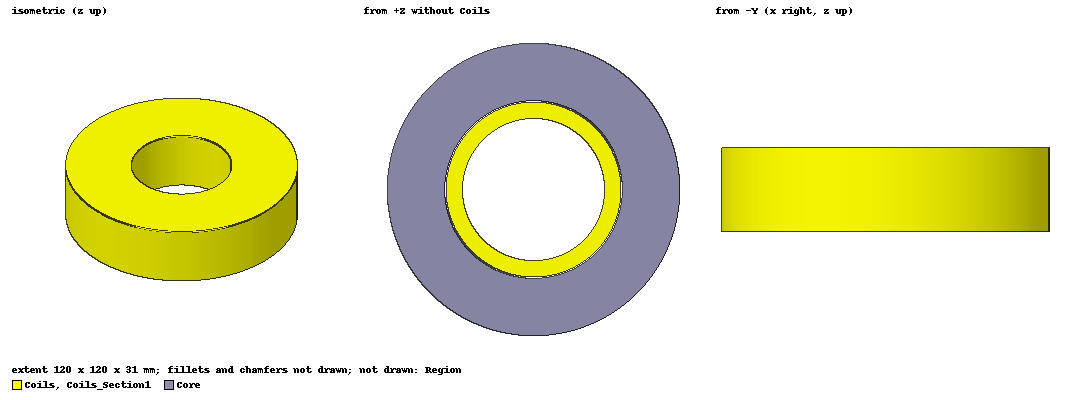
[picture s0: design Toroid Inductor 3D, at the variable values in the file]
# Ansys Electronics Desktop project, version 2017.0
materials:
  vacuum: permittivity=1
  copper: permeability=0.999991 conductivity=58000000
  steel_1010: permittivity=1 permeability{BType=normal HUnit=A_per_meter BUnit=tesla curve (0, 0) (238.7, 0.2003) (318.3, 0.3204) (358.1, 0.40045) (437.7, 0.50055) (477.5, 0.5606) (636.6, 0.7908) (795.8, 0.931) (1114.1, 1.1014) (1273.2, 1.2016) (1591.5, 1.302) (2228.2, 1.4028) (3183.1, 1.524) (4774.6, 1.626) (6366.2, 1.698) (7957.7, 1.73) (15915.5, 1.87) (31831, 1.99) (47746.5, 2.04) (63662, 2.07) (79577.5, 2.095) (159155, 2.2) (318310, 2.4)} conductivity=2000000 lande_g_factor=2
  steel_1008: permeability{BType=normal HUnit=A_per_meter BUnit=tesla curve (0, 0) (159.2, 0.2402) (318.3, 0.8654) (477.5, 1.1106) (636.6, 1.2458) (795.8, 1.331) (1591.5, 1.5) (3183.1, 1.6) (4774.6, 1.683) (6366.2, 1.741) (7957.7, 1.78) (15915.5, 1.905) (31831, 2.025) (47746.5, 2.085) (63662, 2.13) (79577.5, 2.165) (159155, 2.28) (318310, 2.485) (397887, 2.5851)} conductivity=2000000

design Toroid Inductor 3D (Maxwell 3D, Magnetostatic, model units mm)
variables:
  N = 10
  I = 1A
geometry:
  Circle1 = circle(normal=Z, centre=(0mm, 0mm, 0mm), radius=(65/2) mm)
  Core [steel_1008] = circle(normal=Z, centre=(0mm, 0mm, 0mm), radius=(107/2) mm)
  Core.subtract(Circle1)
  Core.sweep_along_vector((0mm, 0mm, 9mm))
  Circle2_1 = Core.duplicate_mirror(point=(0mm, 0mm, 0mm), normal=(0mm, 0mm, 1mm))
  Core.unite(Circle2_1)
  Coils [copper] = circle(normal=Z, centre=(0mm, 0mm, 0mm), radius=60mm)
  Circle4 = circle(normal=Z, centre=(0mm, 0mm, 0mm), radius=(65/2-6.5) mm)
  Coils.subtract(Circle4)
  Coils.sweep_along_vector((0mm, 0mm, (9+6.5) mm))
  Circle2_4 = Coils.duplicate_mirror(point=(0mm, 0mm, 0mm), normal=(0mm, 0mm, 1mm))
  Coils.unite(Circle2_4)
  Coils.fillet(Edges=Coils.edge(#2950, 1 of 4, #2951, 3 of 4) Radius=3mm Setback=0mm)
  Core2 = circle(normal=Z, centre=(0mm, 0mm, 0mm), radius=(107/2+0.5) mm)
  Circle5 = circle(normal=Z, centre=(0mm, 0mm, 0mm), radius=(65/2-0.5) mm)
  Core2.subtract(Circle5)
  Core2.sweep_along_vector((0mm, 0mm, (9+0.5) mm))
  Circle2_5 = Core2.duplicate_mirror(point=(0mm, 0mm, 0mm), normal=(0mm, 0mm, 1mm))
  Core2.unite(Circle2_5)
  Coils.subtract(Core2)
  Region [vacuum] = region(percentage_offset: +X=200, -X=200, +Y=200, -Y=200, +Z=300, -Z=300)
  Coils_Section1 [copper] = Coils.section(plane=XY)
  Coils_Section1.separate_bodies()
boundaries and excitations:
  Current1: Current Objects=Coils_Section1 Current=N*I IsSolid=false Point_out_of_terminal=false
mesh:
  Length1: LengthBased RefineInside Objects=Core NumMaxElem=10000
  Length2: LengthBased RefineInside Objects=Coils NumMaxElem=17000
  Length3: LengthBased Objects=Coils_Section1 NumMaxElem=5000
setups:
  Setup1: Magnetostatic MaximumPasses=10 MinimumPasses=2 MinimumConvergedPasses=1 PercentRefinement=30 PercentError=1 NonLinearResidual=0.001
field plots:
  Mag_B1: B over a plane on Setup1 : LastAdaptive
